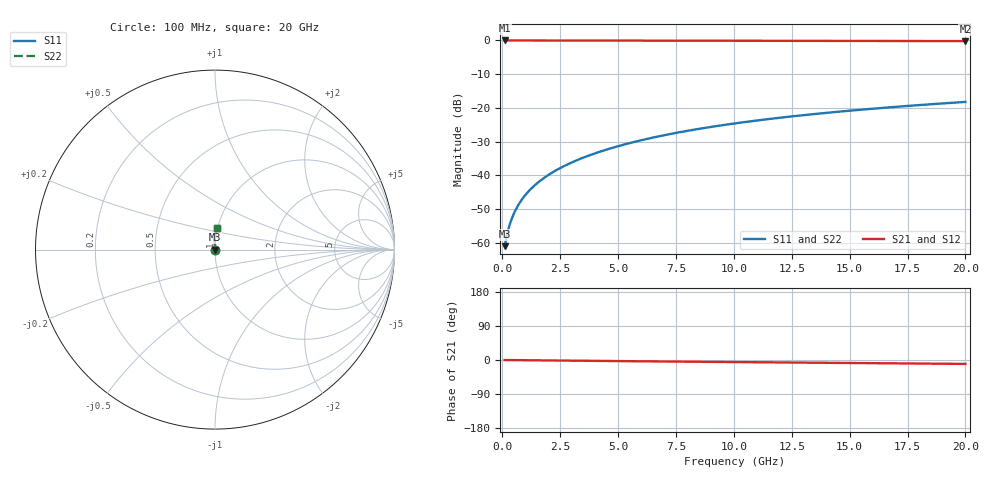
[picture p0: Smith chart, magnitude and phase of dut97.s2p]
! Touchstone file exported from HFSS 2024.1.0
!  File:  C:/UserFiles/LocalFiles/RDL_TSV_Batchsim/temp_RDL_top_97_1778683095.aedt
!  Generated:  10:40:09 PM May 13, 2026
!  Design:  RDL_top
!  Project:  temp_RDL_top_97_1778683095
!  Setup:  Setup1
!  Solution:  Sweep
! Variables:
!  dtsv = 10.80580581um
!  hbump = 3um
!  htsv = 55.61um
!  ldown = 100um
!  lrdl = 103.52um
!  p = 40
!  p1 = 59.02um
!  rhole = 1um
!  t = 450um
!  tdown = 3.915915916um
!  trdl = 3.12um
!  wdown = 15.38538539um
!  wrdl = 28.98um
# GHz S MA R 50.000000
! Terminal data exported
! Port[1] = Box2_T1
! Port[2] = Box2_T2
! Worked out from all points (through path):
!   200 points, 100 MHz to 20 GHz, reference 50 ohm
!   highest |S21| = -0.01 dB at 100 MHz (marker M1); lowest = -0.2 dB at 20 GHz (marker M2)
!   group delay of S21, straight-line fit = 1.41 ps
!   lowest |S11| = -61.0 dB at 100 MHz (marker M3), VSWR 1.00, Z = 50.1 + j0.055 ohm
!   |S11| at or under -10 dB: start of sweep to end of sweep
!   |S22| runs from -61.0 to -18.2 dB; largest |S21 - S12| = 2.1e-15
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0.1  0.0008903 38.1  0.9993 -0.1  0.9993 -0.1  0.0008903 38.1
! Gamma 0 0 0 0
! Port Impedance 50 0 50 0
0.2  0.001304 56.0  0.9993 -0.1  0.9993 -0.1  0.001304 56.0
0.3  0.001765 64.6  0.9992 -0.2  0.9992 -0.2  0.001765 64.6
0.4  0.002235 69.7  0.9992 -0.2  0.9992 -0.2  0.002235 69.7
0.5  0.002708 73.1  0.9991 -0.3  0.9991 -0.3  0.002708 73.1
0.6  0.003184 75.7  0.9991 -0.4  0.9991 -0.4  0.003184 75.7
0.8  0.004147 79.3  0.999 -0.5  0.999 -0.5  0.004147 79.3
1.1  0.005617 82.7  0.9988 -0.7  0.9988 -0.7  0.005617 82.7
1.5  0.007619 85.5  0.9986 -0.9  0.9986 -0.9  0.007619 85.5
1.8  0.009149 87.0  0.9984 -1.1  0.9984 -1.1  0.009149 87.0
2.1  0.0107 88.1  0.9981 -1.3  0.9981 -1.3  0.0107 88.1
2.7  0.01389 89.7  0.9976 -1.6  0.9976 -1.6  0.01389 89.7
3.5  0.0183 91.1  0.9967 -2.1  0.9967 -2.1  0.0183 91.1
4.2  0.0223 91.9  0.9958 -2.4  0.9958 -2.4  0.0223 91.9
5  0.02703 92.3  0.9947 -2.9  0.9947 -2.9  0.02703 92.3
5.9  0.0325 92.4  0.9935 -3.4  0.9935 -3.4  0.0325 92.4
6.8  0.0381 92.3  0.9923 -3.8  0.9923 -3.8  0.0381 92.3
8.4  0.04827 91.7  0.9902 -4.6  0.9902 -4.6  0.04827 91.7
10.1  0.05922 90.7  0.9881 -5.5  0.9881 -5.5  0.05922 90.7
13.4  0.08056 88.5  0.9844 -7.1  0.9844 -7.1  0.08056 88.5
16.7  0.1017 86.3  0.9809 -8.7  0.9809 -8.7  0.1017 86.3
20  0.1227 84.1  0.9774 -10.3  0.9774 -10.3  0.1226 84.1
